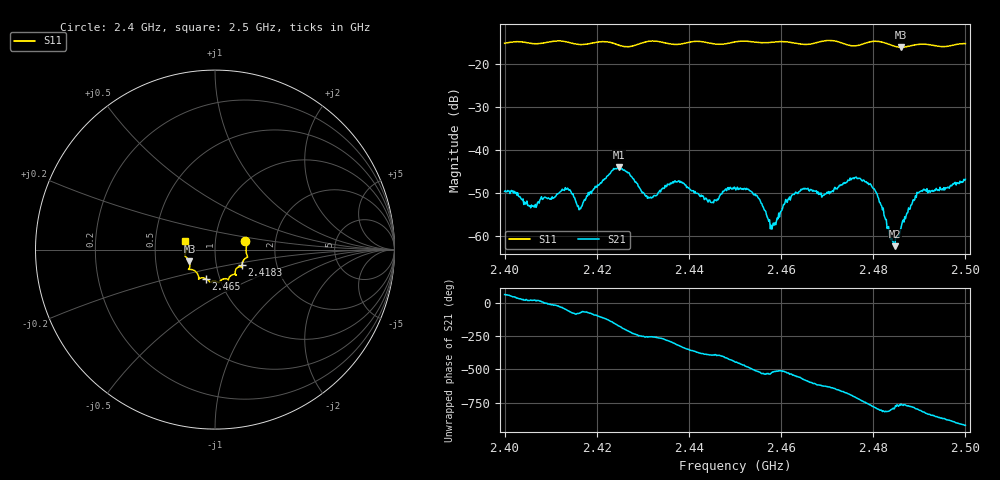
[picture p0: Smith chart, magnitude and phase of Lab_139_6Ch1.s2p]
# Hz S RI R 50
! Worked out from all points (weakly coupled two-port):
!   601 points, 2.4 GHz to 2.5 GHz, reference 50 ohm
!   highest |S21| = -44.02 dB at 2.4248 GHz (marker M1); lowest = -62.3 dB at 2.4847 GHz (marker M2)
!   lowest |S11| = -16.1 dB at 2.486 GHz (marker M3), VSWR 1.37, Z = 37.2 - j4.96 ohm
!   |S11| at or under -10 dB: start of sweep to end of sweep
!   S12 and S22 are empty: the file has one direction only
!   S11 on the Smith chart (normalised r, x): 2.4 GHz: 1.40, +0.13; 2.4183 GHz: 1.33, -0.24; 2.465 GHz: 0.86, -0.28; 2.5 GHz: 0.71, +0.07
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2.4e9  0.1684 0.0464  0.00169 0.00286  0 0  0 0
2.406e9  0.1733 0.00864  0.00215 0.000595  0 0  0 0
2.413667e9  0.1749 -0.0452  0.00181 -0.00313  0 0  0 0
2.416667e9  0.1545 -0.0676  0.000614 -0.00211  0 0  0 0
2.418333e9  0.1497 -0.0865  0.000591 -0.00297  0 0  0 0
2.424833e9  0.1358 -0.0956  -0.00628 -0.000481  0 0  0 0
2.431e9  0.1167 -0.1415  -0.000563 0.0027  0 0  0 0
2.433333e9  0.1176 -0.1411  -0.000329 0.0032  0 0  0 0
2.438e9  0.0828 -0.1493  0.00338 0.00251  0 0  0 0
2.445167e9  0.0607 -0.1621  0.0021 -0.00134  0 0  0 0
2.45e9  0.0254 -0.1798  0.000343 -0.00364  0 0  0 0
2.454833e9  0.00932 -0.179  -0.00264 -0.00127  0 0  0 0
2.458167e9  -0.0185 -0.179  -0.00123 -0.000497  0 0  0 0
2.465e9  -0.0526 -0.1613  -0.0028 0.00213  0 0  0 0
2.466667e9  -0.0711 -0.1571  -0.00182 0.00293  0 0  0 0
2.478333e9  -0.1366 -0.1105  0.00383 -0.00187  0 0  0 0
2.480667e9  -0.1478 -0.1104  0.00109 -0.00301  0 0  0 0
2.483333e9  -0.1409 -0.0966  -4.74e-05 -0.00129  0 0  0 0
2.484667e9  -0.1393 -0.0814  0.000295 -0.000705  0 0  0 0
2.486e9  -0.1427 -0.065  0.000949 -0.000784  0 0  0 0
2.49e9  -0.1664 -0.0369  0.000286 -0.00326  0 0  0 0
2.5e9  -0.1671 0.0472  -0.00436 0.00143  0 0  0 0
